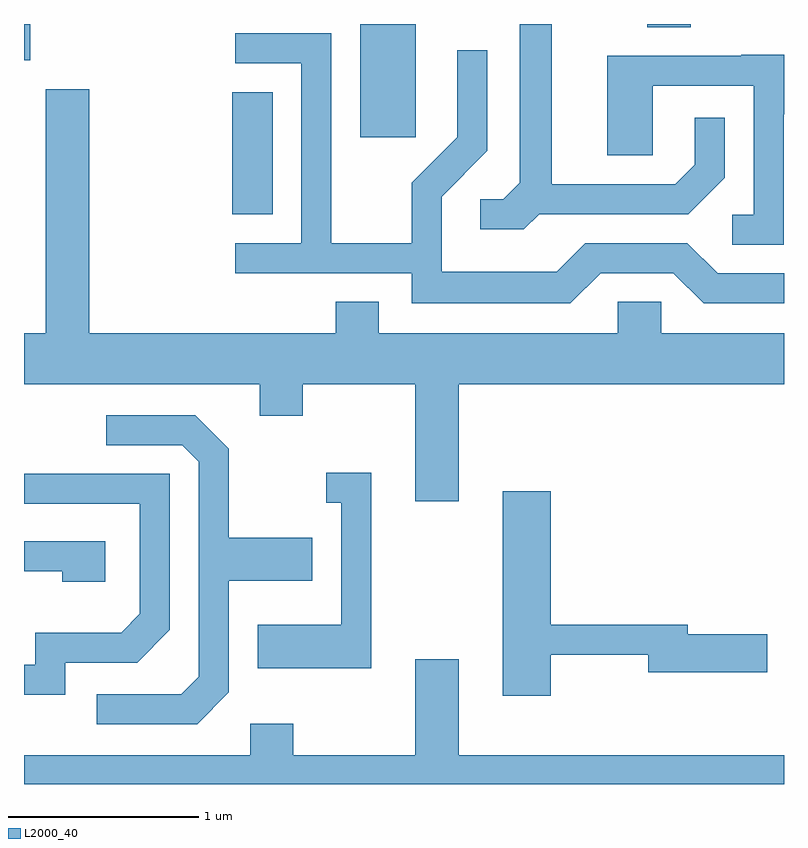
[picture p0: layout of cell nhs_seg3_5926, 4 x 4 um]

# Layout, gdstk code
import gdstk
lib = gdstk.Library(unit=1e-6, precision=1e-09)
def R(c, l, rs):  # rectangles x0, y0, x1, y1
    for r in rs: c.add(gdstk.rectangle(r[:2], r[2:], *l))
def P(c, l, *ps):  # polygons
    for p in ps: c.add(gdstk.Polygon(p, *l))
L2000_40 = (2000, 40)

nhs_seg3_5926 = lib.new_cell('nhs_seg3_5926')
R(nhs_seg3_5926, L2000_40, [(360.706,1146.891,360.919,1147.534), (361.381,1147.296,361.674,1147.892), (359.611,1147.701,359.644,1147.892), (362.891,1147.876,363.119,1147.892)])
P(nhs_seg3_5926, L2000_40, [(362.322,1146.891),(363.107,1146.891),(363.299,1147.084),(363.299,1147.398),(363.141,1147.398),(363.141,1147.152),(363.039,1147.049),(362.389,1147.049),(362.389,1147.892),(362.221,1147.892),(362.221,1147.057),(362.134,1146.969),(362.013,1146.969),(362.013,1146.811),(362.242,1146.811)],
  [(362.647,1146.581),(363.029,1146.581),(363.189,1146.421),(363.611,1146.421),(363.611,1146.579),(363.262,1146.579),(363.102,1146.739),(362.564,1146.739),(362.414,1146.589),(361.809,1146.589),(361.809,1146.984),(362.049,1147.224),(362.049,1147.753),(361.891,1147.753),(361.891,1147.297),(361.651,1147.057),(361.651,1146.739),(361.229,1146.739),(361.229,1147.844),(360.723,1147.844),(360.723,1147.686),(361.071,1147.686),(361.071,1146.739),(360.723,1146.739),(360.723,1146.581),(361.651,1146.581),(361.651,1146.421),(362.487,1146.421)],
  [(363.609,1147.416),(363.611,1147.416),(363.611,1147.729),(363.385,1147.729),(363.385,1147.724),(362.681,1147.724),(362.681,1147.201),(362.919,1147.201),(362.919,1147.566),(363.451,1147.566),(363.451,1146.889),(363.338,1146.889),(363.338,1146.731),(363.609,1146.731)],
  [(361.899,1145.996),(363.611,1145.996),(363.611,1146.264),(362.964,1146.264),(362.964,1146.429),(362.736,1146.429),(362.736,1146.264),(361.479,1146.264),(361.479,1146.429),(361.251,1146.429),(361.251,1146.264),(359.954,1146.264),(359.954,1147.549),(359.726,1147.549),(359.726,1146.264),(359.611,1146.264),(359.611,1145.996),(360.851,1145.996),(360.851,1145.831),(361.079,1145.831),(361.079,1145.996),(361.671,1145.996),(361.671,1145.381),(361.899,1145.381)],
  [(360.689,1144.374),(360.689,1144.961),(361.129,1144.961),(361.129,1145.189),(360.689,1145.189),(360.689,1145.657),(360.512,1145.834),(360.043,1145.834),(360.043,1145.676),(360.444,1145.676),(360.531,1145.589),(360.531,1144.457),(360.439,1144.364),(359.993,1144.364),(359.993,1144.206),(360.522,1144.206)],
  [(361.439,1145.529),(361.203,1145.529),(361.203,1145.371),(361.281,1145.371),(361.281,1144.729),(360.841,1144.729),(360.841,1144.501),(361.439,1144.501)],
  [(359.829,1144.531),(360.207,1144.531),(360.379,1144.704),(360.379,1145.524),(359.611,1145.524),(359.611,1145.366),(360.221,1145.366),(360.221,1144.787),(360.124,1144.689),(359.671,1144.689),(359.671,1144.519),(359.611,1144.519),(359.611,1144.361),(359.829,1144.361)],
  [(362.384,1144.571),(362.896,1144.571),(362.896,1144.481),(363.524,1144.481),(363.524,1144.679),(363.104,1144.679),(363.104,1144.729),(362.384,1144.729),(362.384,1145.434),(362.131,1145.434),(362.131,1144.356),(362.384,1144.356)],
  [(360.039,1145.169),(359.611,1145.169),(359.611,1145.011),(359.811,1145.011),(359.811,1144.956),(360.039,1144.956)],
  [(363.611,1144.044),(361.899,1144.044),(361.899,1144.549),(361.671,1144.549),(361.671,1144.044),(361.029,1144.044),(361.029,1144.209),(360.801,1144.209),(360.801,1144.044),(359.611,1144.044),(359.611,1143.892),(363.611,1143.892)])

lib.write_gds('nhs_seg3_5926.gds')
